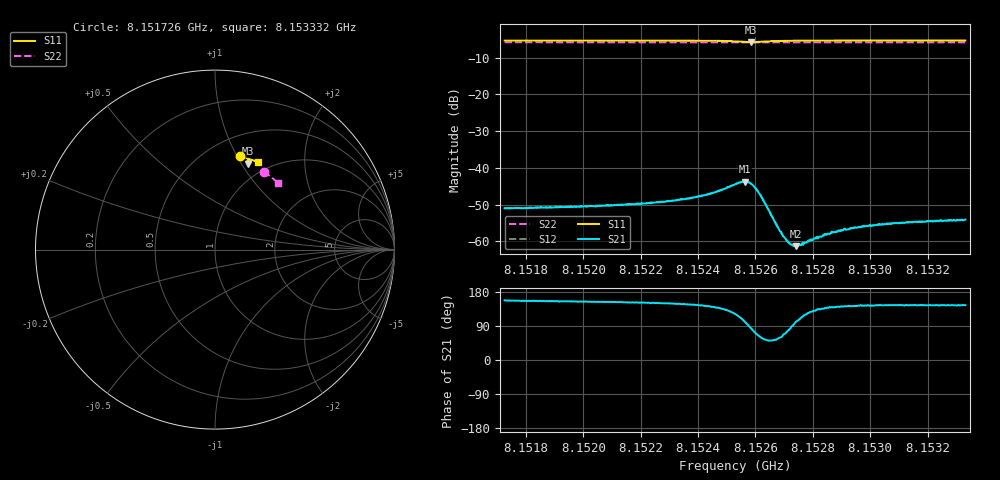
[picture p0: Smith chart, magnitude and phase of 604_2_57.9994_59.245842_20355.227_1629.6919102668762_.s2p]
#  HZ  S  RI  R  50.00
! Rohde & Schwarz Vector Network Analyzer
! Rohde-Schwarz,ZNB20-2Port,1311601062101988,3.16
! Created: UTC 3/21/2024, 1:17:21 AM
! freq[Hz]  re:S11  im:S11  re:S21  im:S21  re:S12  im:S12  re:S22  im:S22
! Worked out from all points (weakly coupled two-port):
!   401 points, 8.151726 GHz to 8.153332 GHz, reference 50 ohm
!   highest |S21| = -43.73 dB at 8.152565 GHz (marker M1); lowest = -61.2 dB at 8.152742 GHz (marker M2)
!   lowest |S11| = -5.8 dB at 8.152585 GHz (marker M3), VSWR 3.12, Z = 41.2 + j53.7 ohm
!   |S11| at or under -10 dB: nowhere
!   |S22| runs from -5.9 to -5.8 dB; largest |S21 - S12| = 0.00015
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8.1517259e9  0.139 0.522  -0.00261 0.00109  -0.0026 0.00114  0.2724 0.4338
8.1519949e9  0.158 0.5169  -0.0027 0.0013  -0.0027 0.00136  0.2867 0.4241
8.1522639e9  0.1776 0.5103  -0.00295 0.0017  -0.00298 0.00176  0.3005 0.4139
8.1523683e9  0.1861 0.5066  -0.00322 0.00212  -0.0032 0.00219  0.3058 0.4096
8.1524285e9  0.1915 0.5031  -0.00342 0.00262  -0.00343 0.00269  0.3089 0.4072
8.1524807e9  0.1967 0.4982  -0.00358 0.00347  -0.00355 0.00355  0.3116 0.4051
8.1525289e9  0.1992 0.4888  -0.00312 0.00511  -0.00313 0.00516  0.3138 0.4028
8.152565e9  0.193 0.4799  -0.0011 0.00641  -0.00104 0.00646  0.3151 0.4013
8.1525851e9  0.1853 0.4795  0.000692 0.00606  0.000783 0.00607  0.3156 0.4003
8.1526011e9  0.1803 0.4833  0.00176 0.00495  0.00183 0.005  0.3162 0.4001
8.1526172e9  0.1785 0.4885  0.00212 0.00373  0.00219 0.00374  0.3172 0.3998
8.1526774e9  0.1858 0.4998  0.000877 0.00132  0.000901 0.00128  0.3205 0.3978
8.1526975e9  0.1889 0.501  0.000449 0.00108  0.000488 0.00107  0.3216 0.3969
8.1527176e9  0.1916 0.5014  0.000154 0.000934  0.000152 0.000938  0.3225 0.3961
8.1527256e9  0.1928 0.5014  2.59e-05 0.000902  4.57e-05 0.000886  0.3229 0.3958
8.1527417e9  0.1946 0.5016  -0.000169 0.00085  -0.000124 0.00086  0.3236 0.3951
8.1527979e9  0.2006 0.5009  -0.000636 0.000821  -0.000604 0.000851  0.3265 0.3927
8.152846e9  0.205 0.4999  -0.000914 0.000844  -0.000882 0.000859  0.329 0.3907
8.1529103e9  0.2102 0.4984  -0.00116 0.000927  -0.00117 0.000921  0.332 0.3881
8.1529825e9  0.2157 0.4965  -0.0013 0.000941  -0.0013 0.000949  0.3354 0.3848
8.1530669e9  0.2217 0.4942  -0.00143 0.00101  -0.00141 0.00104  0.3395 0.3813
8.1533318e9  0.2397 0.4865  -0.00162 0.00115  -0.00161 0.00116  0.3517 0.3696
